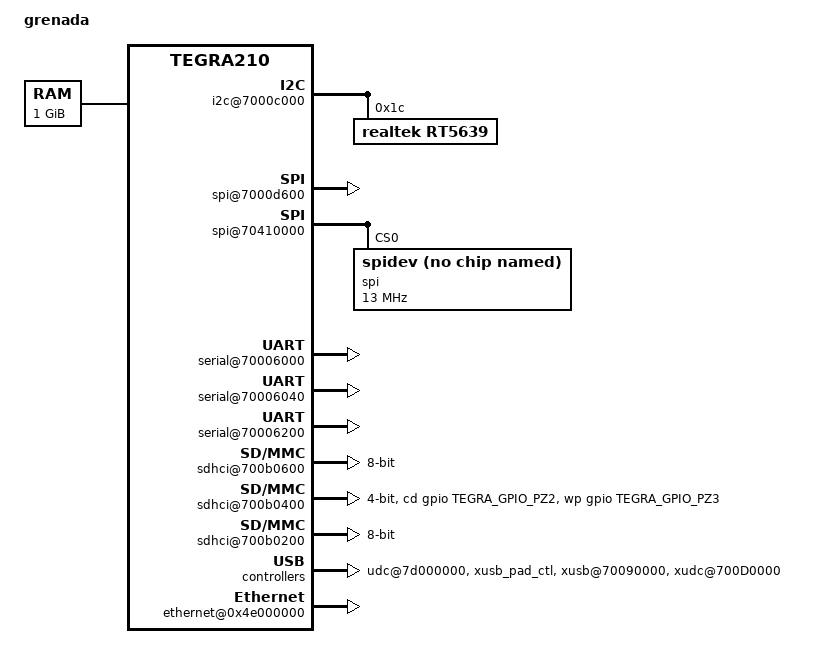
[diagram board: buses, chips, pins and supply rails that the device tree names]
/*
 * arch/arm64/boot/dts/tegra210-grenada.dtsi
 *
 * Copyright (c) 2013-2015, NVIDIA CORPORATION.  All rights reserved.
 *
 * This program is free software; you can redistribute it and/or modify
 * it under the terms of the GNU General Public License as published by
 * the Free Software Foundation; version 2 of the License.
 *
 * This program is distributed in the hope that it will be useful, but WITHOUT
 * ANY WARRANTY; without even the implied warranty of MERCHANTABILITY or
 * FITNESS FOR A PARTICULAR PURPOSE.  See the GNU General Public License for
 * more details.
 *
 * You should have received a copy of the GNU General Public License along
 * with this program; if not, write to the Free Software Foundation, Inc.,
 * 51 Franklin Street, Fifth Floor, Boston, MA  02110-1301, USA.
 *
 */

/dts-v1/;

/memreserve/ 0x80000000 0x00020000;

#include "tegra210-soc-shield.dtsi"
#include "tegra210-platforms/tegra210-grenada-fixed.dtsi"
#include "tegra210-platforms/tegra210-ers-power-dvfs-e2174-1101-a00.dtsi"
#include <dt-bindings/pinctrl/pinctrl-tegra.h>
#include <dt-bindings/gpio/gpio.h>
#include <dt-bindings/sound/tegra-asoc-alt.h>

/ {
	model = "grenada";
	compatible = "nvidia,grenada", "nvidia,tegra210";
	nvidia,dtsfilename = __FILE__;
	nvidia,dtbbuildtime = __DATE__, __TIME__;

	chosen {
		bootargs ="mem=1024M@2048M earlycon=uart8250,mmio32,0x70006000";
		stdout-path = &uarta;
        };

	/* chosen */

	firmware {
		android {
			compatible = "android,firmware";
			hardware = "grenada";
		};
	};

	memory@80000000 {
		device_type = "memory";
		reg = < 0x0 0x80000000 0x0 0x40000000 >;
	};

	i2c@7000c000 {
		rt5639: rt5639.0-001c@1c {
			compatible = "realtek,rt5639";
			reg = <0x1c>;
		};
	};

	adma@702e2000  {
		interrupts =  <GIC_SPI INT_ADMA_EOT0 IRQ_TYPE_LEVEL_HIGH>,
			      <GIC_SPI INT_ADMA_EOT1 IRQ_TYPE_LEVEL_HIGH>,
			      <GIC_SPI INT_ADMA_EOT2 IRQ_TYPE_LEVEL_HIGH>,
			      <GIC_SPI INT_ADMA_EOT3 IRQ_TYPE_LEVEL_HIGH>,
			      <GIC_SPI INT_ADMA_EOT4 IRQ_TYPE_LEVEL_HIGH>,
			      <GIC_SPI INT_ADMA_EOT5 IRQ_TYPE_LEVEL_HIGH>,
			      <GIC_SPI INT_ADMA_EOT6 IRQ_TYPE_LEVEL_HIGH>,
			      <GIC_SPI INT_ADMA_EOT7 IRQ_TYPE_LEVEL_HIGH>,
			      <GIC_SPI INT_ADMA_EOT8 IRQ_TYPE_LEVEL_HIGH>,
			      <GIC_SPI INT_ADMA_EOT9 IRQ_TYPE_LEVEL_HIGH>;
		dma-channels = <10>;
		status = "disabled";
	};

	spi@7000d600 {
		status = "okay";
		spi-max-frequency = <25000000>;
	};

	spi@70410000 {
		status = "okay";
		spi@0 {
			compatible = "spidev";
			reg = <0>;
			spi-max-frequency = <13000000>;

			controller-data {
				nvidia,x1-len-limit = <16>;
				nvidia,x1-bus-speed = <50>; /* In Mhz */
				nvidia,x1-dymmy-cycle = <0>;
				nvidia,x4-bus-speed = <80>;
				nvidia,x4-dymmy-cycle = <8>;
			};

		};
	};

	serial@70006000 {
		compatible = "nvidia,tegra210-uart";
		console-port;
		status = "okay";
	};

	serial@70006040 {
		compatible = "nvidia,tegra210-uart";
		status = "okay";
	};

	serial@70006200 {
		compatible = "nvidia,tegra210-uart";
		status = "okay";
	};

	pinmux@700008d4 {
		pinctrl-names = "default";
		pinctrl-0 = <&pinmux_default>;

		pinmux_default: common {
			dvfs_pwm_pbb1 {
				nvidia,pins = "dvfs_pwm_pbb1";
				nvidia,function = "cldvfs";
				nvidia,enable-input = <TEGRA_PIN_DISABLE>;
				nvidia,pull = <TEGRA_PIN_PULL_NONE>;
				nvidia,tristate = <TEGRA_PIN_ENABLE>;
			};

			dvfs_clk_pbb2 {
				nvidia,pins = "dvfs_clk_pbb2";
				nvidia,function = "cldvfs";
				nvidia,enable-input = <TEGRA_PIN_DISABLE>;
				nvidia,pull = <TEGRA_PIN_PULL_NONE>;
				nvidia,tristate = <TEGRA_PIN_DISABLE>;
			};

			gen2_i2c_scl_pj2 {
				nvidia,pins = "gen2_i2c_scl_pj2";
				nvidia,function = "i2c2";
				nvidia,enable-input = <TEGRA_PIN_ENABLE>;
				nvidia,pull = <TEGRA_PIN_PULL_NONE>;
				nvidia,tristate = <TEGRA_PIN_DISABLE>;
				nvidia,lock = <TEGRA_PIN_DISABLE>;
				nvidia,open-drain = <TEGRA_PIN_DISABLE>;
			};

			gen2_i2c_sda_pj3 {
				nvidia,pins = "gen2_i2c_sda_pj3";
				nvidia,function = "i2c2";
				nvidia,enable-input = <TEGRA_PIN_ENABLE>;
				nvidia,pull = <TEGRA_PIN_PULL_NONE>;
				nvidia,tristate = <TEGRA_PIN_DISABLE>;
				nvidia,lock = <TEGRA_PIN_DISABLE>;
				nvidia,open-drain = <TEGRA_PIN_DISABLE>;
			};

			sdmmc1_clk_pm0 {
				nvidia,pins = "sdmmc1_clk_pm0";
				nvidia,function = "sdmmc1";
				nvidia,enable-input = <TEGRA_PIN_ENABLE>;
				nvidia,pull = <TEGRA_PIN_PULL_NONE>;
				nvidia,tristate = <TEGRA_PIN_DISABLE>;
			};

			sdmmc1_cmd_pm1 {
				nvidia,pins = "sdmmc1_cmd_pm1";
				nvidia,function = "sdmmc1";
				nvidia,enable-input = <TEGRA_PIN_ENABLE>;
				nvidia,pull = <TEGRA_PIN_PULL_UP>;
				nvidia,tristate = <TEGRA_PIN_DISABLE>;
			};

			sdmmc1_dat0_pm5 {
				nvidia,pins = "sdmmc1_dat0_pm5";
				nvidia,function = "sdmmc1";
				nvidia,enable-input = <TEGRA_PIN_ENABLE>;
				nvidia,pull = <TEGRA_PIN_PULL_UP>;
				nvidia,tristate = <TEGRA_PIN_DISABLE>;
			};

			sdmmc1_dat1_pm4 {
				nvidia,pins = "sdmmc1_dat1_pm4";
				nvidia,function = "sdmmc1";
				nvidia,enable-input = <TEGRA_PIN_ENABLE>;
				nvidia,pull = <TEGRA_PIN_PULL_UP>;
				nvidia,tristate = <TEGRA_PIN_DISABLE>;
			};

			sdmmc1_dat2_pm3 {
				nvidia,pins = "sdmmc1_dat2_pm3";
				nvidia,function = "sdmmc1";
				nvidia,enable-input = <TEGRA_PIN_ENABLE>;
				nvidia,pull = <TEGRA_PIN_PULL_UP>;
				nvidia,tristate = <TEGRA_PIN_DISABLE>;
			};

			sdmmc1_dat3_pm2 {
				nvidia,pins = "sdmmc1_dat3_pm2";
				nvidia,function = "sdmmc1";
				nvidia,enable-input = <TEGRA_PIN_ENABLE>;
				nvidia,pull = <TEGRA_PIN_PULL_UP>;
				nvidia,tristate = <TEGRA_PIN_DISABLE>;
			};

			sdmmc3_clk_pp0 {
				nvidia,pins = "sdmmc3_clk_pp0";
				nvidia,function = "sdmmc3";
				nvidia,enable-input = <TEGRA_PIN_ENABLE>;
				nvidia,pull = <TEGRA_PIN_PULL_NONE>;
				nvidia,tristate = <TEGRA_PIN_DISABLE>;
			};

			sdmmc3_cmd_pp1 {
				nvidia,pins = "sdmmc3_cmd_pp1";
				nvidia,function = "sdmmc3";
				nvidia,enable-input = <TEGRA_PIN_ENABLE>;
				nvidia,pull = <TEGRA_PIN_PULL_UP>;
				nvidia,tristate = <TEGRA_PIN_DISABLE>;
			};

			sdmmc3_dat0_pp5 {
				nvidia,pins = "sdmmc3_dat0_pp5";
				nvidia,function = "sdmmc3";
				nvidia,enable-input = <TEGRA_PIN_ENABLE>;
				nvidia,pull = <TEGRA_PIN_PULL_UP>;
				nvidia,tristate = <TEGRA_PIN_DISABLE>;
			};

			sdmmc3_dat1_pp4 {
				nvidia,pins = "sdmmc3_dat1_pp4";
				nvidia,function = "sdmmc3";
				nvidia,enable-input = <TEGRA_PIN_ENABLE>;
				nvidia,pull = <TEGRA_PIN_PULL_UP>;
				nvidia,tristate = <TEGRA_PIN_DISABLE>;
			};

			sdmmc3_dat2_pp3 {
				nvidia,pins = "sdmmc3_dat2_pp3";
				nvidia,function = "sdmmc3";
				nvidia,enable-input = <TEGRA_PIN_ENABLE>;
				nvidia,pull = <TEGRA_PIN_PULL_UP>;
				nvidia,tristate = <TEGRA_PIN_DISABLE>;
			};

			sdmmc3_dat3_pp2 {
				nvidia,pins = "sdmmc3_dat3_pp2";
				nvidia,function = "sdmmc3";
				nvidia,enable-input = <TEGRA_PIN_ENABLE>;
				nvidia,pull = <TEGRA_PIN_PULL_UP>;
				nvidia,tristate = <TEGRA_PIN_DISABLE>;
			};

			pwr_i2c_scl_py3 {
				nvidia,pins = "pwr_i2c_scl_py3";
				nvidia,function = "i2cpmu";
				nvidia,enable-input = <TEGRA_PIN_ENABLE>;
				nvidia,pull = <TEGRA_PIN_PULL_NONE>;
				nvidia,tristate = <TEGRA_PIN_DISABLE>;
				nvidia,open-drain = <TEGRA_PIN_DISABLE>;
			};

			pwr_i2c_sda_py4 {
				nvidia,pins = "pwr_i2c_sda_py4";
				nvidia,function = "i2cpmu";
				nvidia,enable-input = <TEGRA_PIN_ENABLE>;
				nvidia,pull = <TEGRA_PIN_PULL_NONE>;
				nvidia,tristate = <TEGRA_PIN_DISABLE>;
				nvidia,open-drain = <TEGRA_PIN_DISABLE>;
			};

			clk_32k_in {
				nvidia,pins = "clk_32k_in";
				nvidia,function = "clk";
				nvidia,enable-input = <TEGRA_PIN_ENABLE>;
				nvidia,pull = <TEGRA_PIN_PULL_NONE>;
				nvidia,tristate = <TEGRA_PIN_DISABLE>;
			};

			gen1_i2c_sda_pj0 {
				nvidia,pins = "gen1_i2c_sda_pj0";
				nvidia,function = "i2c1";
				nvidia,enable-input = <TEGRA_PIN_ENABLE>;
				nvidia,pull = <TEGRA_PIN_PULL_NONE>;
				nvidia,tristate = <TEGRA_PIN_DISABLE>;
				nvidia,lock = <TEGRA_PIN_DISABLE>;
				nvidia,open-drain = <TEGRA_PIN_DISABLE>;
			};

			gen1_i2c_scl_pj1 {
				nvidia,pins = "gen1_i2c_scl_pj1";
				nvidia,function = "i2c1";
				nvidia,enable-input = <TEGRA_PIN_ENABLE>;
				nvidia,pull = <TEGRA_PIN_PULL_NONE>;
				nvidia,tristate = <TEGRA_PIN_DISABLE>;
				nvidia,lock = <TEGRA_PIN_DISABLE>;
				nvidia,open-drain = <TEGRA_PIN_DISABLE>;
			};

			uart2_cts_pg3 {
				nvidia,pins = "uart2_cts_pg3";
				nvidia,function = "uartb";
				nvidia,enable-input = <TEGRA_PIN_ENABLE>;
				nvidia,pull = <TEGRA_PIN_PULL_NONE>;
				nvidia,tristate = <TEGRA_PIN_DISABLE>;
			};

			uart2_rts_pg2 {
				nvidia,pins = "uart2_rts_pg2";
				nvidia,function = "uartb";
				nvidia,enable-input = <TEGRA_PIN_DISABLE>;
				nvidia,pull = <TEGRA_PIN_PULL_NONE>;
				nvidia,tristate = <TEGRA_PIN_DISABLE>;
			};

			uart2_rx_pg1 {
				nvidia,pins = "uart2_rx_pg1";
				nvidia,function = "uartb";
				nvidia,enable-input = <TEGRA_PIN_ENABLE>;
				nvidia,pull = <TEGRA_PIN_PULL_NONE>;
				nvidia,tristate = <TEGRA_PIN_DISABLE>;
			};

			uart2_tx_pg0 {
				nvidia,pins = "uart2_tx_pg0";
				nvidia,function = "uartb";
				nvidia,enable-input = <TEGRA_PIN_DISABLE>;
				nvidia,pull = <TEGRA_PIN_PULL_NONE>;
				nvidia,tristate = <TEGRA_PIN_DISABLE>;
			};

			uart3_cts_pd4 {
				nvidia,pins = "uart3_cts_pd4";
				nvidia,function = "uartc";
				nvidia,enable-input = <TEGRA_PIN_ENABLE>;
				nvidia,pull = <TEGRA_PIN_PULL_NONE>;
				nvidia,tristate = <TEGRA_PIN_DISABLE>;
			};

			uart3_rts_pd3 {
				nvidia,pins = "uart3_rts_pd3";
				nvidia,function = "uartc";
				nvidia,enable-input = <TEGRA_PIN_DISABLE>;
				nvidia,pull = <TEGRA_PIN_PULL_NONE>;
				nvidia,tristate = <TEGRA_PIN_DISABLE>;
			};

			uart3_rx_pd2 {
				nvidia,pins = "uart3_rx_pd2";
				nvidia,function = "uartc";
				nvidia,enable-input = <TEGRA_PIN_ENABLE>;
				nvidia,pull = <TEGRA_PIN_PULL_NONE>;
				nvidia,tristate = <TEGRA_PIN_DISABLE>;
			};

			uart3_tx_pd1 {
				nvidia,pins = "uart3_tx_pd1";
				nvidia,function = "uartc";
				nvidia,enable-input = <TEGRA_PIN_DISABLE>;
				nvidia,pull = <TEGRA_PIN_PULL_NONE>;
				nvidia,tristate = <TEGRA_PIN_DISABLE>;
			};

			uart4_cts_pi7 {
				nvidia,pins = "uart4_cts_pi7";
				nvidia,function = "uart";
				nvidia,enable-input = <TEGRA_PIN_ENABLE>;
				nvidia,pull = <TEGRA_PIN_PULL_NONE>;
				nvidia,tristate = <TEGRA_PIN_DISABLE>;
			};

			uart4_rts_pi6 {
				nvidia,pins = "uart4_rts_pi6";
				nvidia,function = "uart";
				nvidia,enable-input = <TEGRA_PIN_DISABLE>;
				nvidia,pull = <TEGRA_PIN_PULL_NONE>;
				nvidia,tristate = <TEGRA_PIN_DISABLE>;
			};

			uart4_rx_pi5 {
				nvidia,pins = "uart4_rx_pi5";
				nvidia,function = "uart";
				nvidia,enable-input = <TEGRA_PIN_ENABLE>;
				nvidia,pull = <TEGRA_PIN_PULL_NONE>;
				nvidia,tristate = <TEGRA_PIN_DISABLE>;
			};

			uart4_tx_pi4 {
				nvidia,pins = "uart4_tx_pi4";
				nvidia,function = "uart";
				nvidia,enable-input = <TEGRA_PIN_DISABLE>;
				nvidia,pull = <TEGRA_PIN_PULL_NONE>;
				nvidia,tristate = <TEGRA_PIN_DISABLE>;
			};

			gpio_x1_aud_pbb3 {
				nvidia,pins = "gpio_x1_aud_pbb3";
				nvidia,function = "rsvd1";
				nvidia,enable-input = <TEGRA_PIN_DISABLE>;
				nvidia,pull = <TEGRA_PIN_PULL_NONE>;
				nvidia,tristate = <TEGRA_PIN_DISABLE>;
			};

			gpio_x3_aud_pbb4 {
				nvidia,pins = "gpio_x3_aud_pbb4";
				nvidia,function = "rsvd1";
				nvidia,enable-input = <TEGRA_PIN_ENABLE>;
				nvidia,pull = <TEGRA_PIN_PULL_UP>;
				nvidia,tristate = <TEGRA_PIN_DISABLE>;
			};

			qspi_sck_pee0 {
				nvidia,pins = "qspi_sck_pee0";
				nvidia,function = "qspi";
				nvidia,enable-input = <TEGRA_PIN_ENABLE>;
				nvidia,pull = <TEGRA_PIN_PULL_UP>;
				nvidia,tristate = <TEGRA_PIN_DISABLE>;
			};

			pz4 {
				nvidia,pins = "pz4";
				nvidia,function = "rsvd2";
				nvidia,enable-input = <TEGRA_PIN_DISABLE>;
				nvidia,pull = <TEGRA_PIN_PULL_UP>;
				nvidia,tristate = <TEGRA_PIN_DISABLE>;
			};

			qspi_cs_n_pee1 {
				nvidia,pins = "qspi_cs_n_pee1";
				nvidia,function = "qspi";
				nvidia,enable-input = <TEGRA_PIN_ENABLE>;
				nvidia,pull = <TEGRA_PIN_PULL_UP>;
				nvidia,tristate = <TEGRA_PIN_DISABLE>;
			};

			qspi_io0_pee2 {
				nvidia,pins = "qspi_io0_pee2";
				nvidia,function = "qspi";
				nvidia,enable-input = <TEGRA_PIN_ENABLE>;
				nvidia,pull = <TEGRA_PIN_PULL_UP>;
				nvidia,tristate = <TEGRA_PIN_DISABLE>;
			};

			qspi_io1_pee3 {
				nvidia,pins = "qspi_io1_pee3";
				nvidia,function = "qspi";
				nvidia,enable-input = <TEGRA_PIN_ENABLE>;
				nvidia,pull = <TEGRA_PIN_PULL_UP>;
				nvidia,tristate = <TEGRA_PIN_DISABLE>;
			};

			qspi_io2_pee4 {
				nvidia,pins = "qspi_io2_pee4";
				nvidia,function = "qspi";
				nvidia,enable-input = <TEGRA_PIN_ENABLE>;
				nvidia,pull = <TEGRA_PIN_PULL_UP>;
				nvidia,tristate = <TEGRA_PIN_DISABLE>;
			};

			qspi_io3_pee5 {
				nvidia,pins = "qspi_io3_pee5";
				nvidia,function = "qspi";
				nvidia,enable-input = <TEGRA_PIN_ENABLE>;
				nvidia,pull = <TEGRA_PIN_PULL_UP>;
				nvidia,tristate = <TEGRA_PIN_DISABLE>;
			};

			spi1_mosi_pc0 {
				nvidia,pins = "spi1_mosi_pc0";
				nvidia,function = "spi1";
				nvidia,enable-input = <TEGRA_PIN_ENABLE>;
				nvidia,pull = <TEGRA_PIN_PULL_DOWN>;
				nvidia,tristate = <TEGRA_PIN_ENABLE>;
			};

			spi1_miso_pc1 {
				nvidia,pins = "spi1_miso_pc1";
				nvidia,function = "spi1";
				nvidia,enable-input = <TEGRA_PIN_ENABLE>;
				nvidia,pull = <TEGRA_PIN_PULL_DOWN>;
				nvidia,tristate = <TEGRA_PIN_ENABLE>;
			};

			spi1_sck_pc2 {
				nvidia,pins = "spi1_sck_pc2";
				nvidia,function = "spi1";
				nvidia,enable-input = <TEGRA_PIN_ENABLE>;
				nvidia,pull = <TEGRA_PIN_PULL_DOWN>;
				nvidia,tristate = <TEGRA_PIN_ENABLE>;
			};

			spi1_cs0_pc3 {
				nvidia,pins = "spi1_cs0_pc3";
				nvidia,function = "spi1";
				nvidia,enable-input = <TEGRA_PIN_ENABLE>;
				nvidia,pull = <TEGRA_PIN_PULL_UP>;
				nvidia,tristate = <TEGRA_PIN_ENABLE>;
			};

			spi4_sck_pc5 {
				nvidia,pins = "spi4_sck_pc5";
				nvidia,function = "spi4";
				nvidia,enable-input = <TEGRA_PIN_ENABLE>;
				nvidia,pull = <TEGRA_PIN_PULL_DOWN>;
				nvidia,tristate = <TEGRA_PIN_ENABLE>;
			};

			spi4_cs0_pc6 {
				nvidia,pins = "spi4_cs0_pc6";
				nvidia,function = "spi4";
				nvidia,enable-input = <TEGRA_PIN_ENABLE>;
				nvidia,pull = <TEGRA_PIN_PULL_UP>;
				nvidia,tristate = <TEGRA_PIN_ENABLE>;
			};

			spi4_mosi_pc7 {
				nvidia,pins = "spi4_mosi_pc7";
				nvidia,function = "spi4";
				nvidia,enable-input = <TEGRA_PIN_ENABLE>;
				nvidia,pull = <TEGRA_PIN_PULL_DOWN>;
				nvidia,tristate = <TEGRA_PIN_ENABLE>;
			};

			spi4_miso_pd0 {
				nvidia,pins = "spi4_miso_pd0";
				nvidia,function = "spi4";
				nvidia,enable-input = <TEGRA_PIN_ENABLE>;
				nvidia,pull = <TEGRA_PIN_PULL_DOWN>;
				nvidia,tristate = <TEGRA_PIN_ENABLE>;
			};

			gen3_i2c_scl_pf0 {
				nvidia,pins = "gen3_i2c_scl_pf0";
				nvidia,function = "i2c3";
				nvidia,enable-input = <TEGRA_PIN_ENABLE>;
				nvidia,pull = <TEGRA_PIN_PULL_NONE>;
				nvidia,tristate = <TEGRA_PIN_DISABLE>;
				nvidia,lock = <TEGRA_PIN_DISABLE>;
				nvidia,open-drain = <TEGRA_PIN_DISABLE>;
			};

			gen3_i2c_sda_pf1 {
				nvidia,pins = "gen3_i2c_sda_pf1";
				nvidia,function = "i2c3";
				nvidia,enable-input = <TEGRA_PIN_ENABLE>;
				nvidia,pull = <TEGRA_PIN_PULL_NONE>;
				nvidia,tristate = <TEGRA_PIN_DISABLE>;
				nvidia,lock = <TEGRA_PIN_DISABLE>;
				nvidia,open-drain = <TEGRA_PIN_DISABLE>;
			};

			uart1_tx_pu0 {
				nvidia,pins = "uart1_tx_pu0";
				nvidia,function = "uarta";
				nvidia,enable-input = <TEGRA_PIN_DISABLE>;
				nvidia,pull = <TEGRA_PIN_PULL_DOWN>;
				nvidia,tristate = <TEGRA_PIN_DISABLE>;
			};

			uart1_rx_pu1 {
				nvidia,pins = "uart1_rx_pu1";
				nvidia,function = "uarta";
				nvidia,enable-input = <TEGRA_PIN_ENABLE>;
				nvidia,pull = <TEGRA_PIN_PULL_DOWN>;
				nvidia,tristate = <TEGRA_PIN_DISABLE>;
			};

			uart1_rts_pu2 {
				nvidia,pins = "uart1_rts_pu2";
				nvidia,function = "uarta";
				nvidia,enable-input = <TEGRA_PIN_DISABLE>;
				nvidia,pull = <TEGRA_PIN_PULL_DOWN>;
				nvidia,tristate = <TEGRA_PIN_DISABLE>;
			};

			uart1_cts_pu3 {
				nvidia,pins = "uart1_cts_pu3";
				nvidia,function = "uarta";
				nvidia,enable-input = <TEGRA_PIN_ENABLE>;
				nvidia,pull = <TEGRA_PIN_PULL_DOWN>;
				nvidia,tristate = <TEGRA_PIN_DISABLE>;
			};

			spi2_mosi_pb4 {
				nvidia,pins = "spi2_mosi_pb4";
				nvidia,function = "spi2";
				nvidia,enable-input = <TEGRA_PIN_ENABLE>;
				nvidia,pull = <TEGRA_PIN_PULL_UP>;
				nvidia,tristate = <TEGRA_PIN_DISABLE>;
			};

			spi2_miso_pb5 {
				nvidia,pins = "spi2_miso_pb5";
				nvidia,function = "spi2";
				nvidia,enable-input = <TEGRA_PIN_ENABLE>;
				nvidia,pull = <TEGRA_PIN_PULL_UP>;
				nvidia,tristate = <TEGRA_PIN_DISABLE>;
			};

			spi2_sck_pb6 {
				nvidia,pins = "spi2_sck_pb6";
				nvidia,function = "spi2";
				nvidia,enable-input = <TEGRA_PIN_ENABLE>;
				nvidia,pull = <TEGRA_PIN_PULL_UP>;
				nvidia,tristate = <TEGRA_PIN_DISABLE>;
			};

			spi2_cs0_pb7 {
				nvidia,pins = "spi2_cs0_pb7";
				nvidia,function = "spi2";
				nvidia,enable-input = <TEGRA_PIN_ENABLE>;
				nvidia,pull = <TEGRA_PIN_PULL_UP>;
				nvidia,tristate = <TEGRA_PIN_DISABLE>;
			};

			spi2_cs1_pdd0 {
				nvidia,pins = "spi2_cs1_pdd0";
				nvidia,function = "spi2";
				nvidia,enable-input = <TEGRA_PIN_ENABLE>;
				nvidia,pull = <TEGRA_PIN_PULL_UP>;
				nvidia,tristate = <TEGRA_PIN_ENABLE>;
			};
		};

		dap1_active_state: dap1_active {
			i2s1 {
				nvidia,pins = "dap1_fs_pb0", "dap1_din_pb1",
								"dap1_dout_pb2","dap1_sclk_pb3";
				nvidia,function = "i2s1";
				nvidia,enable-input = <TEGRA_PIN_ENABLE>;
				nvidia,pull = <TEGRA_PIN_PULL_NONE>;
				nvidia,tristate = <TEGRA_PIN_DISABLE>;
			};
		};

		dap1_inactive_state: dap1_inactive {
			i2s1 {
				nvidia,pins = "dap1_fs_pb0", "dap1_din_pb1",
								"dap1_dout_pb2", "dap1_sclk_pb3";
				nvidia,function = "i2s1";
				nvidia,enable-input = <TEGRA_PIN_DISABLE>;
				nvidia,pull = <TEGRA_PIN_PULL_NONE>;
				nvidia,tristate = <TEGRA_PIN_ENABLE>;
			};
		};

		dap2_active_state: dap2_active {
			i2s2 {
				nvidia,pins = "dap2_fs_paa0","dap2_din_paa2",
								"dap2_dout_paa3","dap2_sclk_paa1";
				nvidia,function = "i2s2";
				nvidia,enable-input = <TEGRA_PIN_ENABLE>;
				nvidia,pull = <TEGRA_PIN_PULL_NONE>;
				nvidia,tristate = <TEGRA_PIN_DISABLE>;
			};
		};


		dap2_inactive_state: dap2_inactive {
			i2s2 {
				nvidia,pins = "dap2_fs_paa0","dap2_din_paa2",
								"dap2_dout_paa3","dap2_sclk_paa1";
				nvidia,function = "i2s2";
				nvidia,enable-input = <TEGRA_PIN_DISABLE>;
				nvidia,pull = <TEGRA_PIN_PULL_NONE>;
				nvidia,tristate = <TEGRA_PIN_ENABLE>;
			};
		};

		dap4_active_state: dap4_active {
			i2s4 {
				nvidia,pins = "dap4_fs_pj4", "dap4_din_pj5",
								"dap4_dout_pj6", "dap4_sclk_pj7";
				nvidia,function = "i2s4b";
				nvidia,enable-input = <TEGRA_PIN_ENABLE>;
				nvidia,pull = <TEGRA_PIN_PULL_NONE>;
				nvidia,tristate = <TEGRA_PIN_DISABLE>;
			};
		};

		dap4_inactive_state: dap4_inactive {
			i2s4 {
				nvidia,pins = "dap4_fs_pj4", "dap4_din_pj5",
								"dap4_dout_pj6", "dap4_sclk_pj7";
				nvidia,function = "i2s4b";
				nvidia,enable-input = <TEGRA_PIN_DISABLE>;
				nvidia,pull = <TEGRA_PIN_PULL_NONE>;
				nvidia,tristate = <TEGRA_PIN_ENABLE>;
			};
		};

		dap5_active_state: dap5_active {
			i2s5 {
				nvidia,pins = "pk0","pk1","pk2","pk3";
				nvidia,function = "i2s5";
				nvidia,enable-input = <TEGRA_PIN_ENABLE>;
				nvidia,pull = <TEGRA_PIN_PULL_NONE>;
				nvidia,tristate = <TEGRA_PIN_DISABLE>;
			};
		};

		dap5_inactive_state: dap5_inactive {
			i2s5 {
				nvidia,pins = "pk0","pk1","pk2","pk3";
				nvidia,function = "i2s5";
				nvidia,enable-input = <TEGRA_PIN_DISABLE>;
				nvidia,pull = <TEGRA_PIN_PULL_NONE>;
				nvidia,tristate = <TEGRA_PIN_ENABLE>;
			};
		};
	};

	ahub {
		status = "disabled";

		admaif@0x702d0000 {
			status = "okay";
		};

		sfc@702d2000 {
			status = "okay";
		};

		sfc@702d2200 {
			status = "okay";
		};

		sfc@702d2400 {
			status = "okay";
		};

		sfc@702d2600 {
			status = "okay";
		};

		spkprot@702d8c00 {
			status = "okay";
		};

		mvc@702da000 {
			status = "okay";
		};

		mvc@0x702da200 {
			status = "okay";
		};

		amixer@702dbb00 {
			status = "okay";
		};

		i2s@702d1000 {
			pinctrl-names = "dap_active", "dap_inactive";
			pinctrl-0 = <>;
			pinctrl-1 = <>;
			status = "okay";
		};

		i2s@702d1100 {
			pinctrl-names = "dap_active", "dap_inactive";
			pinctrl-0 = <>;
			pinctrl-1 = <>;
			status = "okay";
		};

		i2s@702d1200 {
			pinctrl-names = "dap_active", "dap_inactive";
			pinctrl-0 = <>;
			pinctrl-1 = <>;
			status = "okay";
		};

		i2s@702d1300 {
			pinctrl-names = "dap_active", "dap_inactive";
			pinctrl-0 = <>;
			pinctrl-1 = <>;
			status = "okay";
		};

		i2s@702d1400 {
			pinctrl-names = "dap_active", "dap_inactive";
			pinctrl-0 = <>;
			pinctrl-1 = <>;
			status = "okay";
		};

		dmic@702d4000 {
			status = "okay";
		};

		dmic@702d4100 {
			status = "okay";
		};

		dmic@702d4200 {
			status = "okay";
		};

		amx@702d3000 {
			status = "okay";
		};

		amx@702d3100 {
			status = "okay";
		};

		adx@702d3800 {
			status = "okay";
		};

		adx@702d3900 {
			status = "okay";
		};

		afc@702d7000 {
			status = "okay";
		};

		afc@702d7100 {
			status = "okay";
		};

		afc@702d7200 {
			status = "okay";
		};

		afc@702d7300 {
			status = "okay";
		};

		afc@702d7400 {
			status = "okay";
		};

		afc@702d7500 {
			status = "okay";
		};

		mvc@702da000 {
			status = "okay";
		};

		mvc@702da200 {
			status = "okay";
		};

		spdif@702d6000 {
			status = "okay";
		};
		iqc@702de000 {
			timestamp-enable = <0>;
			data-offset = <1>;
			status = "okay";
		};
		iqc@702de200 {
			timestamp-enable = <0>;
			data-offset = <1>;
                        status = "okay";
                };

		ope@702d8000 {
			status = "okay";
		};

		ope@702d8400 {
			status = "okay";
		};
	};

	agic-controller {
		compatible = "nvidia,tegra210-agic";
		interrupt-controller;
		no-gic-extension;
		not-per-cpu;
		reg = <0x0 0x702f9000 0x0 0x2000>,
		      <0x0 0x702fa000 0x0 0x2000>;
		interrupts = <0 102 0xf04>;
		status = "disabled";
	};

	hda@70030000 {
		compatible = "nvidia,tegra30-hda";
		reg = <0x0 0x70030000 0x0 0x10000>;
		interrupts = <0 81 0x04>;
		status = "disabled";
	};

	adsp_audio {
		status = "disabled";
	};

	adsp {
		compatible = "nvidia,tegra210-adsp";
		status = "disabled";
		wakeup-disable;
	};

	spdif_dit0: spdif-dit.0@0 {
		compatible = "linux,spdif-dit";
		reg = <0x0 0x0 0x0 0x0>;
		status = "disabled";
	};

	spdif_dit1: spdif-dit.1@1 {
		compatible = "linux,spdif-dit";
		reg = <0x0 0x1 0x0 0x0>;
		status = "disabled";
	};

	spdif_dit2: spdif-dit.2@2 {
		compatible = "linux,spdif-dit";
		reg = <0x0 0x2 0x0 0x0>;
		status = "disabled";
	};

	spdif_dit3: spdif-dit.3@3 {
		compatible = "linux,spdif-dit";
		reg = <0x0 0x03 0x0 0x0>;
		status = "disabled";
	};

	sound {
		compatible = "nvidia,tegra-audio-grenada";
		status = "disabled";
		nvidia,model = "tegra-snd-grenada";
		nvidia,num-amx = <2>;
		nvidia,num-adx = <2>;
		nvidia,amx-slot-size = <32 32>;
		nvidia,adx-slot-size = <32 32>;
		nvidia,num-codec-link = <7>;
		nvidia,amx-slot-map = <
			/* jack 0 */
			TDM_SLOT_MAP(0, 0, 0)
			TDM_SLOT_MAP(0, 0, 0)
			TDM_SLOT_MAP(0, 1, 0)
			TDM_SLOT_MAP(0, 1, 1)
			TDM_SLOT_MAP(0, 0, 0)
			TDM_SLOT_MAP(0, 0, 0)
			TDM_SLOT_MAP(0, 2, 0)
			TDM_SLOT_MAP(0, 2, 1)
			/* jack 1 */
			TDM_SLOT_MAP(0, 0, 0)
			TDM_SLOT_MAP(0, 0, 0)
			TDM_SLOT_MAP(1, 1, 0)
			TDM_SLOT_MAP(1, 1, 1)
			TDM_SLOT_MAP(0, 0, 0)
			TDM_SLOT_MAP(0, 0, 0)
			TDM_SLOT_MAP(1, 2, 0)
			TDM_SLOT_MAP(1, 2, 1)
			/* jack 2 */
			TDM_SLOT_MAP(0, 0, 0)
			TDM_SLOT_MAP(0, 0, 0)
			TDM_SLOT_MAP(2, 1, 0)
			TDM_SLOT_MAP(2, 1, 1)
			TDM_SLOT_MAP(0, 0, 0)
			TDM_SLOT_MAP(0, 0, 0)
			TDM_SLOT_MAP(2, 2, 0)
			TDM_SLOT_MAP(2, 2, 1)
			/* jack 3 */
			TDM_SLOT_MAP(0, 0, 0)
			TDM_SLOT_MAP(0, 0, 0)
			TDM_SLOT_MAP(3, 1, 0)
			TDM_SLOT_MAP(3, 1, 1)
			TDM_SLOT_MAP(0, 0, 0)
			TDM_SLOT_MAP(0, 0, 0)
			TDM_SLOT_MAP(3, 2, 0)
			TDM_SLOT_MAP(3, 2, 1)>;
		nvidia,adx-slot-map = <
			/* jack 0 */
			TDM_SLOT_MAP(0, 0, 0)
			TDM_SLOT_MAP(0, 0, 0)
			TDM_SLOT_MAP(0, 1, 0)
			TDM_SLOT_MAP(0, 1, 1)
			TDM_SLOT_MAP(0, 0, 0)
			TDM_SLOT_MAP(0, 0, 0)
			TDM_SLOT_MAP(0, 2, 0)
			TDM_SLOT_MAP(0, 2, 1)
			/* jack 1 */
			TDM_SLOT_MAP(0, 0, 0)
			TDM_SLOT_MAP(0, 0, 0)
			TDM_SLOT_MAP(1, 1, 0)
			TDM_SLOT_MAP(1, 1, 1)
			TDM_SLOT_MAP(0, 0, 0)
			TDM_SLOT_MAP(0, 0, 0)
			TDM_SLOT_MAP(1, 2, 0)
			TDM_SLOT_MAP(1, 2, 1)
			/* jack 2 */
			TDM_SLOT_MAP(0, 0, 0)
			TDM_SLOT_MAP(0, 0, 0)
			TDM_SLOT_MAP(2, 1, 0)
			TDM_SLOT_MAP(2, 1, 1)
			TDM_SLOT_MAP(0, 0, 0)
			TDM_SLOT_MAP(0, 0, 0)
			TDM_SLOT_MAP(2, 2, 0)
			TDM_SLOT_MAP(2, 2, 1)
			/* jack 3 */
			TDM_SLOT_MAP(0, 0, 0)
			TDM_SLOT_MAP(0, 0, 0)
			TDM_SLOT_MAP(3, 1, 0)
			TDM_SLOT_MAP(3, 1, 1)
			TDM_SLOT_MAP(0, 0, 0)
			TDM_SLOT_MAP(0, 0, 0)
			TDM_SLOT_MAP(3, 2, 0)
			TDM_SLOT_MAP(3, 2, 1)>;

		nvidia,audio-routing =
			"x Headphone", 	"x OUT",
			"y Headphone", 	"y OUT",
			"z Headphone", 	"z OUT",
			"s Headphone", 	"s OUT",
			"x IN",		"x Mic",
			"y IN",		"y Mic",
			"z IN",		"z Mic",
			"s IN",		"s Mic";
		nvidia,xbar = <&tegra_axbar>;

		nvidia,dai-link-1 {
			link-name = "spdif-dit-0";
			cpu-dai = <&tegra_i2s1>;
			codec-dai = <&spdif_dit0>;
			cpu-dai-name = "I2S1";
			codec-dai-name = "dit-hifi";
			tx-mask = <0xFF>;
			rx-mask = <0xFF>;
			format = "i2s";
			bitclock-slave;
			frame-slave;
			bitclock-noninversion;
			frame-noninversion;
			bit-format = "s16_le";
			bclk_ratio = <0>;
			srate = <48000>;
			num-channel = <2>;
			name-prefix = "x";
		};
		nvidia,dai-link-2 {
			link-name = "spdif-dit-1";
			cpu-dai = <&tegra_i2s3>;
			codec-dai = <&spdif_dit1>;
			cpu-dai-name = "I2S3";
			codec-dai-name = "dit-hifi";
			tx-mask = <0xFF>;
			rx-mask = <0xFF>;
			format = "dsp_a";
			bitclock-slave;
			frame-slave;
			bitclock-noninversion;
			frame-noninversion;
			bit-format = "s32_le";
			bclk_ratio = <0>;
			srate = <48000>;
			num-channel = <8>;
			name-prefix = "y";
		};
		nvidia,dai-link-3 {
			link-name = "spdif-dit-2";
			cpu-dai = <&tegra_i2s5>;
			codec-dai = <&spdif_dit2>;
			cpu-dai-name = "I2S5";
			codec-dai-name = "dit-hifi";
			tx-mask = <0xFF>;
			rx-mask = <0xFF>;
			format = "i2s";
			bitclock-slave;
			frame-slave;
			bitclock-noninversion;
			frame-noninversion;
			bit-format = "s16_le";
			bclk_ratio = <0>;
			srate = <48000>;
			num-channel = <2>;
			name-prefix = "z";
		};
		nvidia,dai-link-4 {
			link-name = "spdif-dit-3";
			cpu-dai = <&tegra_spdif>;
			codec-dai = <&spdif_dit3>;
			cpu-dai-name = "SPDIF1-1";
			codec-dai-name = "dit-hifi";
			format = "i2s";
			bit-format = "s16_le";
			srate = <48000>;
			num-channel = <2>;
			name-prefix = "s";
		};
		nvidia,dai-link-5 {
			link-name = "spdif-dit-4";
			cpu-dai = <&tegra_dmic1>;
			codec-dai = <&spdif_dit0>;
			cpu-dai-name = "DMIC1";
			codec-dai-name = "dit-hifi";
			format = "i2s";
			bit-format = "s16_le";
			srate = <48000>;
			num-channel = <2>;
			name-prefix = "dmic-x";
		};
		nvidia,dai-link-6 {
			link-name = "spdif-dit-5";
			cpu-dai = <&tegra_dmic2>;
			codec-dai = <&spdif_dit1>;
			cpu-dai-name = "DMIC2";
			codec-dai-name = "dit-hifi";
			format = "i2s";
			bit-format = "s16_le";
			srate = <48000>;
			num-channel = <2>;
			name-prefix = "dmic-y";
		};
		nvidia,dai-link-7 {
			link-name = "spdif-dit-6";
			cpu-dai = <&tegra_dmic3>;
			codec-dai = <&spdif_dit2>;
			cpu-dai-name = "DMIC3";
			codec-dai-name = "dit-hifi";
			format = "i2s";
			bit-format = "s16_le";
			srate = <48000>;
			num-channel = <2>;
			name-prefix = "dmic-z";
		};
	};

	pcie-controller@1003000 {
		status = "disabled";

		pci@1,0 {
			status = "disabled";
		};

		pci@2,0 {
			status = "disabled";
		};
	};

	sdhci@700b0600 {
		tap-delay = <4>;
		trim-delay = <8>;
		dqs-trim-delay = <17>;
		mmc-ocr-mask = <0>;
		max-clk-limit = <200000000>;
		uhs-mask = <0x40>;
		bus-width = <8>;
		id = <3>;
		built-in;
		calib_1v8_offsets = <0x0707>;
		status = "okay";
	};

	sata@70020000 {
		status = "disabled";
		nvidia,enable-sata-port;
	};

	sdhci@700b0400 {
		tap-delay = <1>;
		trim-delay = <3>;
		max-clk-limit = <204000000>;
		ddr-clk-limit = <48000000>;
		bus-width = <4>;
		id = <2>;
		calib_3v3_offsets = <0x0101>;
		calib_1v8_offsets = <0x0202>;
		cd-gpios = <&gpio TEGRA_GPIO_PZ2 0>;
		wp-gpios = <&gpio TEGRA_GPIO_PZ3 0>;
		mmc-ocr-mask = <3>;
		status = "okay";
	};
	sdhci@700b0200 {
		tap-delay = <4>;
		trim-delay = <8>;
		dqs-trim-delay = <17>;
		mmc-ocr-mask = <0>;
		max-clk-limit = <200000000>;
		uhs-mask = <0x0>;
		bus-width = <8>;
		id = <1>;
		built-in;
		calib_1v8_offsets = <0x0707>;
		status = "okay";
	};

	udc@7d000000 {
		status = "okay";
	};

	/* Put common control config here */
	xusb_pad_ctl: xusb_padctl {
		nvidia,ss_ports = < TEGRA_XHCI_SS_P0 TEGRA_XHCI_USB2_P0 TEGRA_XHCI_LANE_6 TEGRA_XHCI_PORT_STD
				    TEGRA_XHCI_SS_P1 TEGRA_XHCI_USB2_P1 TEGRA_XHCI_LANE_5 TEGRA_XHCI_PORT_STD
				    TEGRA_XHCI_SS_P2 TEGRA_XHCI_USB2_P2 TEGRA_XHCI_LANE_4 TEGRA_XHCI_PORT_STD
				    TEGRA_XHCI_SS_P3 TEGRA_XHCI_USB2_P3 TEGRA_XHCI_UNUSED_LANE TEGRA_XHCI_PORT_STD >;
		status = "okay";
	};

	xusb@70090000 {
		/* nvidia,uses_external_pmic;
		nvidia,gpio_controls_muxed_ss_lanes; */
		nvidia,gpio_ss1_sata = <0>;
		nvidia,ulpicap = <0>; /* No ulpi support. can we remove */
		nvidia,portmap = <0xe0e>;
		nvidia,supply_utmi_vbuses = "usb_vbus0", "usb_vbus1", "usb_vbus2";
		nvidia,supply_s3p3v = "hvdd_usb";
		nvidia,supply_s1p8v = "avdd_pll_utmip";
		nvidia,supply_vddio_hsic = "vddio_hsic";
		nvidia,supply_s1p05v = "avddio_usb";
		/* hsic config values in order defined in structure */
		nvidia,hsic0 = /bits/8 <0x1 0x1 0x8 0xa 0 0 1 0x22 0>;
		nvidia,common_padctl = <&xusb_pad_ctl>;
		status = "okay";
	};

	xudc@700D0000 {
		nvidia,common_padctl = <&xusb_pad_ctl>;
		status = "okay";
	};

	gpu-dvfs-rework {
		status = "disabled";
	};

	tegra_cec {
		compatible = "nvidia,tegra210-cec";
		status = "disabled";
	};

	ptm {
		status = "disabled";
	};

	asim {
		compatible = "nvidia,tegra210-asim";
		reg = < 0x0 0x538f0000 0x0 0x1000 >;
	};

	ethernet@0x4e000000 {
		compatible = "smsc,lan9115";
		reg = < 0x0 0x4e000000 0x0 0x00010000 >;
		interrupts = < 0  48 0x4 >;
		reg-io-width = <4>;
		smsc,irq-active-high;
		smsc,irq-push-pull;
	};

	pwm_regulators {
		gpu_ovr_reg: pwm-regulator@1 {
			/delete-property/ enable-gpio;
		};
	};
};
